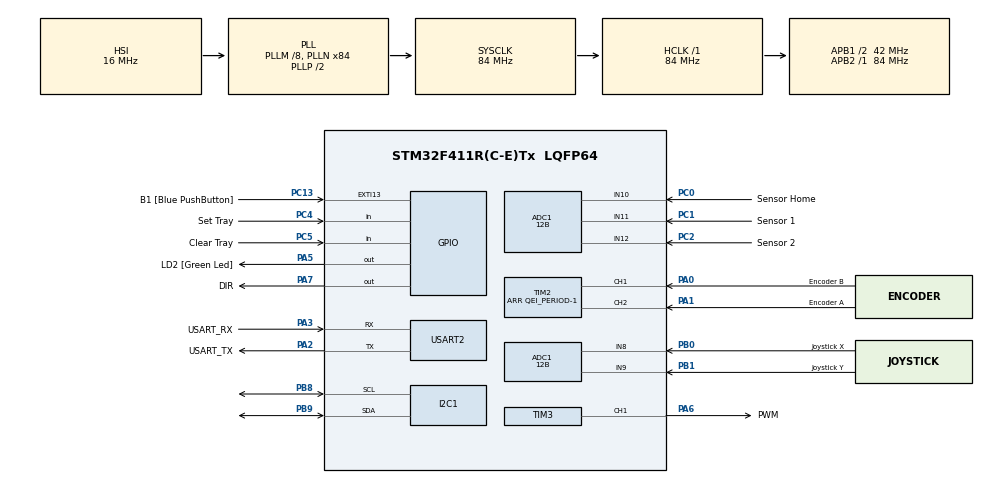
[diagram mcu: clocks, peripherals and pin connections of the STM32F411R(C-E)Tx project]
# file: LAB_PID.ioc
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ADC1.Channel-3\#ChannelRegularConversion=ADC_CHANNEL_8
ADC1.Channel-4\#ChannelRegularConversion=ADC_CHANNEL_9
ADC1.ClockPrescaler=ADC_CLOCK_SYNC_PCLK_DIV4
ADC1.ContinuousConvMode=ENABLE
ADC1.DMAContinuousRequests=ENABLE
ADC1.EOCSelection=ADC_EOC_SEQ_CONV
ADC1.NbrOfConversion=2
ADC1.NbrOfConversionFlag=1
ADC1.Rank-3\#ChannelRegularConversion=1
ADC1.Rank-4\#ChannelRegularConversion=2
ADC1.Resolution=ADC_RESOLUTION_12B
ADC1.SamplingTime-3\#ChannelRegularConversion=ADC_SAMPLETIME_56CYCLES
ADC1.SamplingTime-4\#ChannelRegularConversion=ADC_SAMPLETIME_56CYCLES
ADC1.master=1
ARM.CMSIS.5.6.0.CMSISJjCORE=true
ARM.CMSIS.5.6.0.CMSISJjDSP=Library
Dma.ADC1.0.Direction=DMA_PERIPH_TO_MEMORY
Dma.ADC1.0.FIFOMode=DMA_FIFOMODE_DISABLE
Dma.ADC1.0.Instance=DMA2_Stream0
Dma.ADC1.0.MemDataAlignment=DMA_MDATAALIGN_WORD
Dma.ADC1.0.MemInc=DMA_MINC_ENABLE
Dma.ADC1.0.Mode=DMA_CIRCULAR
Dma.ADC1.0.PeriphDataAlignment=DMA_PDATAALIGN_WORD
Dma.ADC1.0.PeriphInc=DMA_PINC_DISABLE
Dma.ADC1.0.Priority=DMA_PRIORITY_LOW
Dma.Request0=ADC1
Mcu.Family=STM32F4
Mcu.Name=STM32F411R(C-E)Tx
Mcu.Package=LQFP64
Mcu.UserConstants=QEI_PERIOD,40960
NVIC.DMA2_Stream0_IRQn=true\:0\:0\:false\:false\:true\:false\:true\:true
NVIC.EXTI15_10_IRQn=true\:0\:0\:false\:false\:true\:true\:true\:true
NVIC.PriorityGroup=NVIC_PRIORITYGROUP_0
PA0-WKUP.GPIO_Label=Encoder B
PA0-WKUP.Signal=S_TIM2_CH1_ETR
PA1.GPIO_Label=Encoder A
PA1.Signal=S_TIM2_CH2
PA13.GPIO_Label=TMS
PA13.Mode=Trace_Asynchronous_SW
PA13.Signal=SYS_JTMS-SWDIO
PA14.GPIO_Label=TCK
PA14.Mode=Trace_Asynchronous_SW
PA14.Signal=SYS_JTCK-SWCLK
PA2.GPIO_Label=USART_TX
PA2.Mode=Asynchronous
PA2.Signal=USART2_TX
PA3.GPIO_Label=USART_RX
PA3.Mode=Asynchronous
PA3.Signal=USART2_RX
PA5.GPIO_Label=LD2 [Green Led]
PA5.Signal=GPIO_Output
PA6.GPIO_Label=PWM
PA6.Signal=S_TIM3_CH1
PA7.GPIO_Label=DIR
PA7.Signal=GPIO_Output
PB0.GPIO_Label=Joystick X
PB0.Signal=ADCx_IN8
PB1.GPIO_Label=Joystick Y
PB1.Signal=ADCx_IN9
PB3.GPIO_Label=SWO
PB3.Mode=Trace_Asynchronous_SW
PB3.Signal=SYS_JTDO-SWO
PB8.Mode=I2C
PB8.Signal=I2C1_SCL
PB9.Mode=I2C
PB9.Signal=I2C1_SDA
PC0.GPIO_Label=Sensor Home
PC0.Signal=ADCx_IN10
PC1.GPIO_Label=Sensor 1
PC1.Signal=ADCx_IN11
PC13-ANTI_TAMP.GPIO_Label=B1 [Blue PushButton]
PC13-ANTI_TAMP.GPIO_ModeDefaultEXTI=GPIO_MODE_IT_FALLING
PC13-ANTI_TAMP.Signal=GPXTI13
PC14-OSC32_IN.Mode=LSE-External-Oscillator
PC14-OSC32_IN.Signal=RCC_OSC32_IN
PC15-OSC32_OUT.Mode=LSE-External-Oscillator
PC15-OSC32_OUT.Signal=RCC_OSC32_OUT
PC2.GPIO_Label=Sensor 2
PC2.Signal=ADCx_IN12
PC4.GPIO_Label=Set Tray
PC4.Signal=GPIO_Input
PC5.GPIO_Label=Clear Tray
PC5.Signal=GPIO_Input
PH0\ -\ OSC_IN.Mode=HSE-External-Clock-Source
PH0\ -\ OSC_IN.Signal=RCC_OSC_IN
PH1\ -\ OSC_OUT.Mode=HSE-External-Clock-Source
PH1\ -\ OSC_OUT.Signal=RCC_OSC_OUT
ProjectManager.HeapSize=0x200
ProjectManager.StackSize=0x400
ProjectManager.TargetToolchain=STM32CubeIDE
RCC.48MHZClocksFreq_Value=42000000
RCC.AHBFreq_Value=84000000
RCC.APB1CLKDivider=RCC_HCLK_DIV2
RCC.APB1Freq_Value=42000000
RCC.APB1TimFreq_Value=84000000
RCC.APB2Freq_Value=84000000
RCC.APB2TimFreq_Value=84000000
RCC.CortexFreq_Value=84000000
RCC.FLatency-AdvancedSettings=FLASH_LATENCY_2
RCC.HCLKFreq_Value=84000000
RCC.HSE_VALUE=8000000
RCC.HSI_VALUE=16000000
RCC.PLLM=8
RCC.PLLN=84
RCC.SYSCLKFreq_VALUE=84000000
RCC.SYSCLKSource=RCC_SYSCLKSOURCE_PLLCLK
RCC.VCOOutputFreq_Value=168000000
SH.ADCx_IN10.0=ADC1_IN10,IN10
SH.ADCx_IN11.0=ADC1_IN11,IN11
SH.ADCx_IN12.0=ADC1_IN12,IN12
SH.ADCx_IN8.0=ADC1_IN8,IN8
SH.ADCx_IN9.0=ADC1_IN9,IN9
SH.S_TIM2_CH1_ETR.0=TIM2_CH1,Encoder_Interface
SH.S_TIM2_CH2.0=TIM2_CH2,Encoder_Interface
SH.S_TIM3_CH1.0=TIM3_CH1,PWM Generation1 CH1
TIM2.EncoderMode=TIM_ENCODERMODE_TI12
TIM2.IC1Filter=0
TIM2.IC2Filter=0
TIM2.Period=QEI_PERIOD-1
TIM3.Channel-PWM\ Generation1\ CH1=TIM_CHANNEL_1
TIM3.Period=99
TIM3.Prescaler=42
TIM5.Prescaler=83
USART2.VirtualMode=VM_ASYNC
VP_ARM.CMSIS_VS_CMSISJjCORE_5.3.0_5.6.0.Mode=CMSISJjCORE
VP_ARM.CMSIS_VS_CMSISJjDSP_1.7.0_5.6.0.Mode=CMSISJjDSP
VP_TIM3_VS_ClockSourceINT.Mode=Internal
VP_TIM5_VS_ClockSourceINT.Mode=Internal
board=NUCLEO-F411RE

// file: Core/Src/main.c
/* USER CODE BEGIN Header */
/**
  ******************************************************************************
  * @file           : main.c
  * @brief          : Main program body
  ******************************************************************************
  * @attention
  *
  * Copyright (c) 2023 STMicroelectronics.
  * All rights reserved.
  *
  * This software is licensed under terms that can be found in the LICENSE file
  * in the root directory of this software component.
  * If no LICENSE file comes with this software, it is provided AS-IS.
  *
  ******************************************************************************
  */
/* USER CODE END Header */
#include "main.h"

/* USER CODE BEGIN Includes */
#include "arm_math.h"
#include "main.h"
#include "Qubic.h"
#include "Qubic_emxAPI.h"
#include "Qubic_terminate.h"
#include "Qubic_types.h"
#include "rt_nonfinite.h"

//Chayapol 6411
/* USER CODE END Includes */

/* USER CODE BEGIN PTD */
uint64_t micros();
void velocity();
static double argInit_real_T(void);

/* Function Definitions */
/*
 * Arguments    : void
 * Return Type  : double
 */
static double argInit_real_T(void)
{
  return 0.0;
}
/* USER CODE END PTD */

ADC_HandleTypeDef hadc1;
DMA_HandleTypeDef hdma_adc1;

I2C_HandleTypeDef hi2c1;

TIM_HandleTypeDef htim2;
TIM_HandleTypeDef htim3;
TIM_HandleTypeDef htim5;

UART_HandleTypeDef huart2;

/* USER CODE BEGIN PV */
int SoftReset = 0;
float speed;
float acceleration;
uint32_T path = 0;
uint32_t QEIReadRaw;
uint32_t Button1 = 0;
float positionTraject;
float velocityTraject;
uint32_t Joystick_position[2];
uint32_t Joystick_Control;
typedef struct _QEIStructure{
uint32_t data[2]; //Position data container
uint32_t timestamp[2];
float QEIPosition; //step
float QEIVelocity //step/sec
}QEIStructureTypedef;
QEIStructureTypedef QEIData = {0};
QEIStructureTypedef QEIAcc = {0};

uint64_t _micros = 0;

emxArray_real_T *q_velocityN;
emxArray_real_T *q_positionN;
emxArray_real_T *q_accN;
int indexposition = 0;
float timestep = 0;

// PID variable
float pu1=0;
float pe1=0;
float pe2=0;
float u;
float p = 0;
float s = 0;
float u2;
float p2 = 0;
float s2 = 0;
float error2 = 0;
float delta_u;
const float K_P = 0; //0.4
const float K_I = 0.005; // 0.0008
const float K_D = 0; //0.5

uint32_t QEIReadRaw;
float SetVelocity;
float ReadDegree; // Encoder value
float SetDegree; // Set point
float DegreeFeedback; // Feedback position
float error; // error

/* USER CODE END PV */

void SystemClock_Config(void);
static void MX_GPIO_Init(void);
static void MX_DMA_Init(void);
static void MX_USART2_UART_Init(void);
static void MX_TIM2_Init(void);
static void MX_TIM3_Init(void);
static void MX_TIM5_Init(void);
static void MX_ADC1_Init(void);
static void MX_I2C1_Init(void);
/* USER CODE BEGIN PFP */
float control_interrupt();
float control_velocity();
void accelerate();
/* USER CODE END PFP */

int main(void)
{
  /* USER CODE BEGIN 1 */
	main_Qubic();
  /* USER CODE END 1 */

  /* MCU Configuration--------------------------------------------------------*/

  /* Reset of all peripherals, Initializes the Flash interface and the Systick. */
  HAL_Init();

  /* Configure the system clock */
  SystemClock_Config();

  /* Initialize all configured peripherals */
  MX_GPIO_Init();
  MX_DMA_Init();
  MX_USART2_UART_Init();
  MX_TIM2_Init();
  MX_TIM3_Init();
  MX_TIM5_Init();
  MX_ADC1_Init();
  MX_I2C1_Init();
  /* USER CODE BEGIN 2 */
    HAL_ADC_Start_DMA(&hadc1, Joystick_position, 2);
	HAL_TIM_Encoder_Start(&htim2, TIM_CHANNEL_1|TIM_CHANNEL_2);
	HAL_TIM_PWM_Start(&htim3, TIM_CHANNEL_1);
	HAL_TIM_PWM_Start(&htim3, TIM_CHANNEL_2);
	HAL_TIM_Base_Start(&htim5);
  /* USER CODE END 2 */

  /* Infinite loop */
  while (1)
  {

    /* USER CODE BEGIN 3 */
	      static uint64_t timestamp = 0;
	      static float timestampTrajact = 0;
	      if(SoftReset == 1){
	    	  NVIC_SystemReset();
	    	  SoftReset = 0;
	      }
		  if(HAL_GetTick() >= timestampTrajact){
			  timestampTrajact = HAL_GetTick() + 1;
			  if(path == 0)indexposition = 0;
			  if(indexposition < (0.5*2000)-1 && path == 1){
			  SetDegree = positionTraject;
			  SetVelocity = velocityTraject;
			  indexposition += 1;
		      positionTraject = q_positionN->data[indexposition];
		      velocityTraject = q_velocityN->data[indexposition];
			  }
		  }
	      if (HAL_GetTick() >= timestamp) {
			  QEIReadRaw = __HAL_TIM_GET_COUNTER(&htim2); // Read QEI
			  ReadDegree = (QEIReadRaw / 8192.0 * 360)*160/360; // pulse to degree
			  error = SetDegree - ReadDegree;
			  velocity();
			  accelerate();
			  speed = ((QEIData.QEIVelocity / 8192.0)*360.0)*160/360;
			  acceleration = QEIAcc.QEIVelocity;
			  DegreeFeedback = control_interrupt(); // PID function
	          timestamp = HAL_GetTick() + 10;
	          if (Joystick_Control == 1) {
	        	  DegreeFeedback = 0;
	        	  s = 0;
	        	  error = 0;
	              if (Joystick_position[0] >= 3150) {
	                  __HAL_TIM_SET_COMPARE(&htim3, TIM_CHANNEL_1, 100);
	                  HAL_GPIO_WritePin(GPIOA, GPIO_PIN_7, GPIO_PIN_SET);
	              }
	              else if (Joystick_position[0] <= 100) {
	                  __HAL_TIM_SET_COMPARE(&htim3, TIM_CHANNEL_1, 100);
	                  HAL_GPIO_WritePin(GPIOA, GPIO_PIN_7, GPIO_PIN_RESET);
	              }
	              else{
	            	  __HAL_TIM_SET_COMPARE(&htim3, TIM_CHANNEL_1, 0);
	            	  HAL_GPIO_WritePin(GPIOA, GPIO_PIN_7, GPIO_PIN_RESET);
	              }
	          }
	          else if (Joystick_Control == 0) {
	              if (SetDegree < 0) {
	                  SetDegree = 0; // minimum value
	              }
	              if (SetDegree > 700) {
	                  SetDegree = 700; // maximum value
	              }

	              if (error > 0) { // setpoint > read_encoder
	            	  SetVelocity = abs(SetVelocity);
	                  if (error < 1) {
	                      DegreeFeedback = 0; // Limit Position
	                      s = 0;
	                      s2 = 0;
	                  }
	                  __HAL_TIM_SET_COMPARE(&htim3, TIM_CHANNEL_1, DegreeFeedback);
	                  HAL_GPIO_WritePin(GPIOA, GPIO_PIN_7, GPIO_PIN_RESET);
	              }
	              if (error < 0 ) { // setpoint < read_encoder
	            	  if(SetVelocity > 0)SetVelocity = -SetVelocity;
	                  if (error * -1 < 1) {
	                      DegreeFeedback = 0; // Limit Position
	                      s = 0;
	                      s2 = 0;
	                  }
	                  __HAL_TIM_SET_COMPARE(&htim3, TIM_CHANNEL_1, DegreeFeedback * -1);
	                  HAL_GPIO_WritePin(GPIOA, GPIO_PIN_7, GPIO_PIN_SET);
	              }
	          }
	      }
  }
  /* USER CODE END 3 */
}

void SystemClock_Config(void)
{
  RCC_OscInitTypeDef RCC_OscInitStruct = {0};
  RCC_ClkInitTypeDef RCC_ClkInitStruct = {0};

  /** Configure the main internal regulator output voltage
  */
  __HAL_RCC_PWR_CLK_ENABLE();
  __HAL_PWR_VOLTAGESCALING_CONFIG(PWR_REGULATOR_VOLTAGE_SCALE1);

  /** Initializes the RCC Oscillators according to the specified parameters
  * in the RCC_OscInitTypeDef structure.
  */
  RCC_OscInitStruct.OscillatorType = RCC_OSCILLATORTYPE_HSI;
  RCC_OscInitStruct.HSIState = RCC_HSI_ON;
  RCC_OscInitStruct.HSICalibrationValue = RCC_HSICALIBRATION_DEFAULT;
  RCC_OscInitStruct.PLL.PLLState = RCC_PLL_ON;
  RCC_OscInitStruct.PLL.PLLSource = RCC_PLLSOURCE_HSI;
  RCC_OscInitStruct.PLL.PLLM = 8;
  RCC_OscInitStruct.PLL.PLLN = 84;
  RCC_OscInitStruct.PLL.PLLP = RCC_PLLP_DIV2;
  RCC_OscInitStruct.PLL.PLLQ = 4;
  if (HAL_RCC_OscConfig(&RCC_OscInitStruct) != HAL_OK)
  {
    Error_Handler();
  }

  /** Initializes the CPU, AHB and APB buses clocks
  */
  RCC_ClkInitStruct.ClockType = RCC_CLOCKTYPE_HCLK|RCC_CLOCKTYPE_SYSCLK
                              |RCC_CLOCKTYPE_PCLK1|RCC_CLOCKTYPE_PCLK2;
  RCC_ClkInitStruct.SYSCLKSource = RCC_SYSCLKSOURCE_PLLCLK;
  RCC_ClkInitStruct.AHBCLKDivider = RCC_SYSCLK_DIV1;
  RCC_ClkInitStruct.APB1CLKDivider = RCC_HCLK_DIV2;
  RCC_ClkInitStruct.APB2CLKDivider = RCC_HCLK_DIV1;

  if (HAL_RCC_ClockConfig(&RCC_ClkInitStruct, FLASH_LATENCY_2) != HAL_OK)
  {
    Error_Handler();
  }
}

static void MX_ADC1_Init(void)
{

  ADC_ChannelConfTypeDef sConfig = {0};

  /** Configure the global features of the ADC (Clock, Resolution, Data Alignment and number of conversion)
  */
  hadc1.Instance = ADC1;
  hadc1.Init.ClockPrescaler = ADC_CLOCK_SYNC_PCLK_DIV4;
  hadc1.Init.Resolution = ADC_RESOLUTION_12B;
  hadc1.Init.ScanConvMode = ENABLE;
  hadc1.Init.ContinuousConvMode = ENABLE;
  hadc1.Init.DiscontinuousConvMode = DISABLE;
  hadc1.Init.ExternalTrigConvEdge = ADC_EXTERNALTRIGCONVEDGE_NONE;
  hadc1.Init.ExternalTrigConv = ADC_SOFTWARE_START;
  hadc1.Init.DataAlign = ADC_DATAALIGN_RIGHT;
  hadc1.Init.NbrOfConversion = 2;
  hadc1.Init.DMAContinuousRequests = ENABLE;
  hadc1.Init.EOCSelection = ADC_EOC_SEQ_CONV;
  if (HAL_ADC_Init(&hadc1) != HAL_OK)
  {
    Error_Handler();
  }

  /** Configure for the selected ADC regular channel its corresponding rank in the sequencer and its sample time.
  */
  sConfig.Channel = ADC_CHANNEL_8;
  sConfig.Rank = 1;
  sConfig.SamplingTime = ADC_SAMPLETIME_56CYCLES;
  if (HAL_ADC_ConfigChannel(&hadc1, &sConfig) != HAL_OK)
  {
    Error_Handler();
  }

  /** Configure for the selected ADC regular channel its corresponding rank in the sequencer and its sample time.
  */
  sConfig.Channel = ADC_CHANNEL_9;
  sConfig.Rank = 2;
  if (HAL_ADC_ConfigChannel(&hadc1, &sConfig) != HAL_OK)
  {
    Error_Handler();
  }

}

static void MX_I2C1_Init(void)
{

  hi2c1.Instance = I2C1;
  hi2c1.Init.ClockSpeed = 100000;
  hi2c1.Init.DutyCycle = I2C_DUTYCYCLE_2;
  hi2c1.Init.OwnAddress1 = 0;
  hi2c1.Init.AddressingMode = I2C_ADDRESSINGMODE_7BIT;
  hi2c1.Init.DualAddressMode = I2C_DUALADDRESS_DISABLE;
  hi2c1.Init.OwnAddress2 = 0;
  hi2c1.Init.GeneralCallMode = I2C_GENERALCALL_DISABLE;
  hi2c1.Init.NoStretchMode = I2C_NOSTRETCH_DISABLE;
  if (HAL_I2C_Init(&hi2c1) != HAL_OK)
  {
    Error_Handler();
  }

}

static void MX_TIM2_Init(void)
{

  TIM_Encoder_InitTypeDef sConfig = {0};
  TIM_MasterConfigTypeDef sMasterConfig = {0};

  htim2.Instance = TIM2;
  htim2.Init.Prescaler = 0;
  htim2.Init.CounterMode = TIM_COUNTERMODE_UP;
  htim2.Init.Period = QEI_PERIOD-1;
  htim2.Init.ClockDivision = TIM_CLOCKDIVISION_DIV1;
  htim2.Init.AutoReloadPreload = TIM_AUTORELOAD_PRELOAD_DISABLE;
  sConfig.EncoderMode = TIM_ENCODERMODE_TI12;
  sConfig.IC1Polarity = TIM_ICPOLARITY_RISING;
  sConfig.IC1Selection = TIM_ICSELECTION_DIRECTTI;
  sConfig.IC1Prescaler = TIM_ICPSC_DIV1;
  sConfig.IC1Filter = 0;
  sConfig.IC2Polarity = TIM_ICPOLARITY_RISING;
  sConfig.IC2Selection = TIM_ICSELECTION_DIRECTTI;
  sConfig.IC2Prescaler = TIM_ICPSC_DIV1;
  sConfig.IC2Filter = 0;
  if (HAL_TIM_Encoder_Init(&htim2, &sConfig) != HAL_OK)
  {
    Error_Handler();
  }
  sMasterConfig.MasterOutputTrigger = TIM_TRGO_RESET;
  sMasterConfig.MasterSlaveMode = TIM_MASTERSLAVEMODE_DISABLE;
  if (HAL_TIMEx_MasterConfigSynchronization(&htim2, &sMasterConfig) != HAL_OK)
  {
    Error_Handler();
  }

}

static void MX_TIM3_Init(void)
{

  TIM_ClockConfigTypeDef sClockSourceConfig = {0};
  TIM_MasterConfigTypeDef sMasterConfig = {0};
  TIM_OC_InitTypeDef sConfigOC = {0};

  htim3.Instance = TIM3;
  htim3.Init.Prescaler = 42;
  htim3.Init.CounterMode = TIM_COUNTERMODE_UP;
  htim3.Init.Period = 99;
  htim3.Init.ClockDivision = TIM_CLOCKDIVISION_DIV1;
  htim3.Init.AutoReloadPreload = TIM_AUTORELOAD_PRELOAD_DISABLE;
  if (HAL_TIM_Base_Init(&htim3) != HAL_OK)
  {
    Error_Handler();
  }
  sClockSourceConfig.ClockSource = TIM_CLOCKSOURCE_INTERNAL;
  if (HAL_TIM_ConfigClockSource(&htim3, &sClockSourceConfig) != HAL_OK)
  {
    Error_Handler();
  }
  if (HAL_TIM_PWM_Init(&htim3) != HAL_OK)
  {
    Error_Handler();
  }
  sMasterConfig.MasterOutputTrigger = TIM_TRGO_RESET;
  sMasterConfig.MasterSlaveMode = TIM_MASTERSLAVEMODE_DISABLE;
  if (HAL_TIMEx_MasterConfigSynchronization(&htim3, &sMasterConfig) != HAL_OK)
  {
    Error_Handler();
  }
  sConfigOC.OCMode = TIM_OCMODE_PWM1;
  sConfigOC.Pulse = 0;
  sConfigOC.OCPolarity = TIM_OCPOLARITY_HIGH;
  sConfigOC.OCFastMode = TIM_OCFAST_DISABLE;
  if (HAL_TIM_PWM_ConfigChannel(&htim3, &sConfigOC, TIM_CHANNEL_1) != HAL_OK)
  {
    Error_Handler();
  }
  HAL_TIM_MspPostInit(&htim3);

}

static void MX_TIM5_Init(void)
{

  TIM_ClockConfigTypeDef sClockSourceConfig = {0};
  TIM_MasterConfigTypeDef sMasterConfig = {0};

  htim5.Instance = TIM5;
  htim5.Init.Prescaler = 83;
  htim5.Init.CounterMode = TIM_COUNTERMODE_UP;
  htim5.Init.Period = 4294967295;
  htim5.Init.ClockDivision = TIM_CLOCKDIVISION_DIV1;
  htim5.Init.AutoReloadPreload = TIM_AUTORELOAD_PRELOAD_DISABLE;
  if (HAL_TIM_Base_Init(&htim5) != HAL_OK)
  {
    Error_Handler();
  }
  sClockSourceConfig.ClockSource = TIM_CLOCKSOURCE_INTERNAL;
  if (HAL_TIM_ConfigClockSource(&htim5, &sClockSourceConfig) != HAL_OK)
  {
    Error_Handler();
  }
  sMasterConfig.MasterOutputTrigger = TIM_TRGO_RESET;
  sMasterConfig.MasterSlaveMode = TIM_MASTERSLAVEMODE_DISABLE;
  if (HAL_TIMEx_MasterConfigSynchronization(&htim5, &sMasterConfig) != HAL_OK)
  {
    Error_Handler();
  }

}

static void MX_USART2_UART_Init(void)
{

  huart2.Instance = USART2;
  huart2.Init.BaudRate = 115200;
  huart2.Init.WordLength = UART_WORDLENGTH_8B;
  huart2.Init.StopBits = UART_STOPBITS_1;
  huart2.Init.Parity = UART_PARITY_NONE;
  huart2.Init.Mode = UART_MODE_TX_RX;
  huart2.Init.HwFlowCtl = UART_HWCONTROL_NONE;
  huart2.Init.OverSampling = UART_OVERSAMPLING_16;
  if (HAL_UART_Init(&huart2) != HAL_OK)
  {
    Error_Handler();
  }

}

static void MX_DMA_Init(void)
{

  /* DMA controller clock enable */
  __HAL_RCC_DMA2_CLK_ENABLE();

  /* DMA interrupt init */
  /* DMA2_Stream0_IRQn interrupt configuration */
  HAL_NVIC_SetPriority(DMA2_Stream0_IRQn, 0, 0);
  HAL_NVIC_EnableIRQ(DMA2_Stream0_IRQn);

}

static void MX_GPIO_Init(void)
{
  GPIO_InitTypeDef GPIO_InitStruct = {0};

  /* GPIO Ports Clock Enable */
  __HAL_RCC_GPIOC_CLK_ENABLE();
  __HAL_RCC_GPIOH_CLK_ENABLE();
  __HAL_RCC_GPIOA_CLK_ENABLE();
  __HAL_RCC_GPIOB_CLK_ENABLE();

  /*Configure GPIO pin Output Level */
  HAL_GPIO_WritePin(GPIOA, LD2_Pin|DIR_Pin, GPIO_PIN_RESET);

  /*Configure GPIO pin : B1_Pin */
  GPIO_InitStruct.Pin = B1_Pin;
  GPIO_InitStruct.Mode = GPIO_MODE_IT_FALLING;
  GPIO_InitStruct.Pull = GPIO_NOPULL;
  HAL_GPIO_Init(B1_GPIO_Port, &GPIO_InitStruct);

  /*Configure GPIO pins : LD2_Pin DIR_Pin */
  GPIO_InitStruct.Pin = LD2_Pin|DIR_Pin;
  GPIO_InitStruct.Mode = GPIO_MODE_OUTPUT_PP;
  GPIO_InitStruct.Pull = GPIO_NOPULL;
  GPIO_InitStruct.Speed = GPIO_SPEED_FREQ_LOW;
  HAL_GPIO_Init(GPIOA, &GPIO_InitStruct);

  /*Configure GPIO pins : Set_Tray_Pin Clear_Tray_Pin */
  GPIO_InitStruct.Pin = Set_Tray_Pin|Clear_Tray_Pin;
  GPIO_InitStruct.Mode = GPIO_MODE_INPUT;
  GPIO_InitStruct.Pull = GPIO_NOPULL;
  HAL_GPIO_Init(GPIOC, &GPIO_InitStruct);

  /* EXTI interrupt init*/
  HAL_NVIC_SetPriority(EXTI15_10_IRQn, 0, 0);
  HAL_NVIC_EnableIRQ(EXTI15_10_IRQn);

}

/* USER CODE BEGIN 4 */
void HAL_GPIO_EXTI_Callback(uint16_t GPIO_Pin){
	if(GPIO_Pin == GPIO_PIN_8){
		Button1 = 1;
	}
}
float control_interrupt(){
    //loop 1
	error = SetDegree - ReadDegree;
	if(abs(error) <= 0.5)s = 0;
	s = s + error;
	u = K_P*error+K_I*s+K_D*(error-p);
	p = error;
	// loop 2
	error2 = (u + SetVelocity) - speed;
	if(abs(error2) <= 0.5)s2 = 0;
	s2 = s2 + error2;
	u2 = K_P*error2+K_I*s2+K_D*(error2-p2);
	if(u2>100)u2=100;
	if(u2<-100)u2=-100;
	p2 = error2;
return u2;
}
float control_velocity(){
	error2 = (control_interrupt() + SetVelocity) - speed;
	if(abs(error2) <= 0.5)s2 = 0;
	s2 = s2 + error2;
	u2 = K_P*error2+K_I*s2+K_D*(error2-p2);
	if(u2>100)u2=100;
	if(u2<-100)u2=-100;
	p2 = error2;
return u2;
}
void velocity(){
	QEIData.data[0] = __HAL_TIM_GET_COUNTER(&htim2);
	QEIData.timestamp[0] = micros();

	int32_t diffposition = QEIData.data[0] - QEIData.data[1];
	float difftime = QEIData.timestamp[0] - QEIData.timestamp[1];

	if(diffposition > QEI_PERIOD >> 1) diffposition -= QEI_PERIOD;
	if(diffposition < -(QEI_PERIOD >> 1)) diffposition += QEI_PERIOD;

	QEIData.QEIPosition = __HAL_TIM_GET_COUNTER(&htim2) % 8192;
	QEIData.QEIVelocity = (diffposition*1000000)/difftime;

	QEIData.data[1] = QEIData.data[0];
	QEIData.timestamp[1] = QEIData.timestamp[0];

}
void accelerate(){
	QEIAcc.data[0] = speed;
	QEIAcc.timestamp[0] = micros();

	int32_t diffposition = QEIAcc.data[0] - QEIAcc.data[1];
	float difftime = QEIAcc.timestamp[0] - QEIAcc.timestamp[1];
	difftime = difftime/1000000;

	QEIAcc.QEIVelocity = (diffposition/difftime);

	QEIAcc.data[1] = QEIAcc.data[0];
	QEIAcc.timestamp[1] = QEIAcc.timestamp[0];
}
void HAL_TIM_PeriodElapsedCallback(TIM_HandleTypeDef *htim)
{
	if(htim == &htim5){
		_micros += UINT32_MAX;
	}
}
uint64_t micros(){
	return __HAL_TIM_GET_COUNTER(&htim5)+_micros;
}
void main_Qubic(void)
{
  emxArray_real_T *q_acc;
  emxArray_real_T *q_position;
  emxArray_real_T *q_velocity;
  double q_k1_tmp;
  /* Initialize function 'Qubic' input arguments. */
  q_k1_tmp = argInit_real_T();
  /* Call the entry-point 'Qubic'. */
  emxInitArray_real_T(&q_position, 2);
  emxInitArray_real_T(&q_velocity, 2);
  emxInitArray_real_T(&q_acc, 2);
  Qubic(0, 650, 0, 400, 0.5, q_position,
        q_velocity, q_acc);
  q_positionN = q_position;
  q_velocityN = q_velocity;
  q_accN = q_acc;
  emxDestroyArray_real_T(q_position);
  emxDestroyArray_real_T(q_velocity);
  emxDestroyArray_real_T(q_acc);
}
/* USER CODE END 4 */

void Error_Handler(void)
{
  __disable_irq();
  while (1)
  {
  }
}
